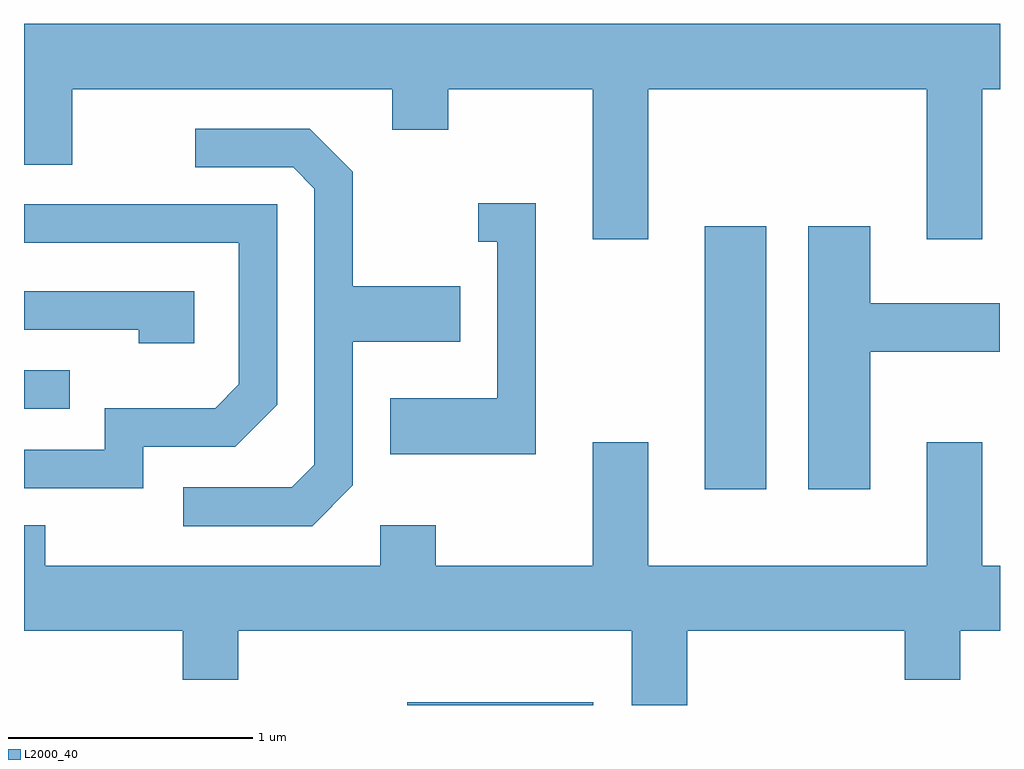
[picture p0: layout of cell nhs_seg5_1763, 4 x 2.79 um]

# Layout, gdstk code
import gdstk
lib = gdstk.Library(unit=1e-6, precision=1e-09)
def R(c, l, rs):  # rectangles x0, y0, x1, y1
    for r in rs: c.add(gdstk.rectangle(r[:2], r[2:], *l))
def P(c, l, *ps):  # polygons
    for p in ps: c.add(gdstk.Polygon(p, *l))
L2000_40 = (2000, 40)

nhs_seg5_1763 = lib.new_cell('nhs_seg5_1763')
R(nhs_seg5_1763, L2000_40, [(239.181,1432.072,239.944,1432.084), (240.401,1432.956,240.654,1434.034), (237.611,1433.286,237.798,1433.444)])
P(nhs_seg5_1763, L2000_40, [(240.169,1434.596),(241.311,1434.596),(241.311,1433.981),(241.539,1433.981),(241.539,1434.596),(241.611,1434.596),(241.611,1434.864),(237.611,1434.864),(237.611,1434.286),(237.809,1434.286),(237.809,1434.596),(239.121,1434.596),(239.121,1434.431),(239.349,1434.431),(239.349,1434.596),(239.941,1434.596),(239.941,1433.981),(240.169,1433.981)],
  [(238.959,1432.974),(238.959,1433.561),(239.399,1433.561),(239.399,1433.789),(238.959,1433.789),(238.959,1434.257),(238.782,1434.434),(238.313,1434.434),(238.313,1434.276),(238.714,1434.276),(238.801,1434.189),(238.801,1433.057),(238.709,1432.964),(238.263,1432.964),(238.263,1432.806),(238.792,1432.806)],
  [(239.709,1434.129),(239.473,1434.129),(239.473,1433.971),(239.551,1433.971),(239.551,1433.329),(239.111,1433.329),(239.111,1433.101),(239.709,1433.101)],
  [(238.099,1433.131),(238.477,1433.131),(238.649,1433.304),(238.649,1434.124),(237.611,1434.124),(237.611,1433.966),(238.491,1433.966),(238.491,1433.387),(238.394,1433.289),(237.941,1433.289),(237.941,1433.119),(237.611,1433.119),(237.611,1432.961),(238.099,1432.961)],
  [(241.079,1433.521),(241.609,1433.521),(241.609,1433.719),(241.079,1433.719),(241.079,1434.034),(240.826,1434.034),(240.826,1432.956),(241.079,1432.956)],
  [(238.309,1433.769),(237.611,1433.769),(237.611,1433.611),(238.081,1433.611),(238.081,1433.556),(238.309,1433.556)],
  [(240.329,1432.376),(241.221,1432.376),(241.221,1432.176),(241.449,1432.176),(241.449,1432.376),(241.611,1432.376),(241.611,1432.644),(241.539,1432.644),(241.539,1433.149),(241.311,1433.149),(241.311,1432.644),(240.169,1432.644),(240.169,1433.149),(239.941,1433.149),(239.941,1432.644),(239.299,1432.644),(239.299,1432.809),(239.071,1432.809),(239.071,1432.644),(237.699,1432.644),(237.699,1432.809),(237.611,1432.809),(237.611,1432.376),(238.261,1432.376),(238.261,1432.176),(238.489,1432.176),(238.489,1432.376),(240.101,1432.376),(240.101,1432.072),(240.329,1432.072)])

lib.write_gds('nhs_seg5_1763.gds')
